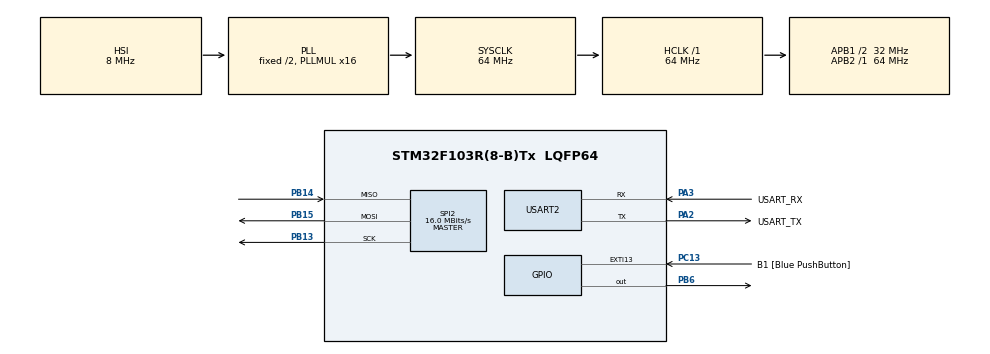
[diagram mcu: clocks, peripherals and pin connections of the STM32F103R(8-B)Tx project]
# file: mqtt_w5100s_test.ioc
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Mcu.Family=STM32F1
PC15-OSC32_OUT.Mode=LSE-External-Oscillator
PA2.GPIO_PuPd=GPIO_NOPULL
PD1-OSC_OUT.Mode=HSE-External-Clock-Source
SPI2.VirtualType=VM_MASTER
PA14.GPIO_Label=TCK
PA3.GPIO_PuPd=GPIO_NOPULL
PA2.GPIO_Speed=GPIO_SPEED_FREQ_LOW
PC13-TAMPER-RTC.Signal=GPXTI13
PD0-OSC_IN.Signal=RCC_OSC_IN
RCC.APB1CLKDivider=RCC_HCLK_DIV2
PC14-OSC32_IN.Signal=RCC_OSC32_IN
PA3.GPIO_Speed=GPIO_SPEED_FREQ_LOW
PB13.Signal=SPI2_SCK
PB15.Signal=SPI2_MOSI
NVIC.USART2_IRQn=true\:0\:0\:false\:false\:true\:true\:true
RCC.SYSCLKSource=RCC_SYSCLKSOURCE_PLLCLK
ProjectManager.StackSize=0x400
PD1-OSC_OUT.Signal=RCC_OSC_OUT
PA13.Signal=SYS_JTMS-SWDIO
PA3.Mode=Asynchronous
ProjectManager.TargetToolchain=STM32CubeIDE
PA3.GPIO_Mode=GPIO_MODE_AF_PP
RCC.HCLKFreq_Value=64000000
RCC.APB2TimFreq_Value=64000000
PB6.Signal=GPIO_Output
RCC.USBFreq_Value=64000000
PC15-OSC32_OUT.Signal=RCC_OSC32_OUT
RCC.AHBFreq_Value=64000000
PD0-OSC_IN.Mode=HSE-External-Clock-Source
NVIC.EXTI15_10_IRQn=true\:0\:0\:false\:false\:true\:true\:true
PB14.Signal=SPI2_MISO
board=NUCLEO-F103RB
RCC.RTCClockSelection=RCC_RTCCLKSOURCE_LSE
PC13-TAMPER-RTC.GPIO_Label=B1 [Blue PushButton]
RCC.PLLMUL=RCC_PLL_MUL16
PB15.Mode=Full_Duplex_Master
RCC.APB2Freq_Value=64000000
PC14-OSC32_IN.Mode=LSE-External-Oscillator
VP_TIM2_VS_ClockSourceINT.Mode=Internal
PA14.Mode=Serial_Wire
PB14.Mode=Full_Duplex_Master
NVIC.TIM2_IRQn=true\:0\:0\:false\:false\:true\:true\:true
SPI2.CalculateBaudRate=16.0 MBits/s
TIM2.Period=1000-1
PA13.Mode=Serial_Wire
Mcu.Name=STM32F103R(8-B)Tx
PA2.Signal=USART2_TX
PA13.GPIO_Label=TMS
PB3.Signal=SYS_JTDO-TRACESWO
RCC.SYSCLKFreq_VALUE=64000000
Mcu.Package=LQFP64
TIM2.Prescaler=64000-1
SPI2.Mode=SPI_MODE_MASTER
USART2.VirtualMode=VM_ASYNC
PC13-TAMPER-RTC.GPIO_PuPd=GPIO_NOPULL
PA2.GPIO_Label=USART_TX
PA14.Signal=SYS_JTCK-SWCLK
ProjectManager.HeapSize=0x200
NVIC.PriorityGroup=NVIC_PRIORITYGROUP_4
RCC.APB1TimFreq_Value=64000000
PA2.Mode=Asynchronous
SPI2.Direction=SPI_DIRECTION_2LINES
PB13.Mode=Full_Duplex_Master
RCC.APB1Freq_Value=32000000
PA3.GPIO_Label=USART_RX
PA3.Signal=USART2_RX
PA2.GPIO_Mode=GPIO_MODE_AF_PP
PB3.GPIO_Label=SWO

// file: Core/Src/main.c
/* USER CODE BEGIN Header */
/**
  ******************************************************************************
  * @file           : main.c
  * @brief          : Main program body
  ******************************************************************************
  * @attention
  *
  * <h2><center>&copy; Copyright (c) 2021 STMicroelectronics.
  * All rights reserved.</center></h2>
  *
  * This software component is licensed by ST under BSD 3-Clause license,
  * the "License"; You may not use this file except in compliance with the
  * License. You may obtain a copy of the License at:
  *                        opensource.org/licenses/BSD-3-Clause
  *
  ******************************************************************************
  */
/* USER CODE END Header */
#include "main.h"

/* USER CODE BEGIN Includes */
#include "wizchip_conf.h"
#include "MQTTClient.h"
//#include "dns.h"
/* USER CODE END Includes */

/* USER CODE BEGIN PD */
#define PUBLISH_MYSELF 1

uint8_t bLoopback = 1;
uint8_t bRandomPacket = 0;
uint8_t bAnyPacket = 0;
uint16_t pack_size = 0;

const uint8_t URL[] = "test.mosquitto.org";
uint8_t dns_server_ip[4] = {168,126,63,1};
uint8_t dnsclient_ip[4] = {0,};
unsigned int targetPort = 1883; // mqtt server port
unsigned char targetIP[4] = {0x00, 0x00, 0x00, 0x00}; // mqtt server IP

uint8_t IP_TYPE;
unsigned char destip[4] = {192, 168, 1, 3}; //PC IP addr

const uint8_t MQTT_TOPIC[]="W5x00";
unsigned char tempBuffer[1024*2] = {0, };

void print_network_information(void);
void delay(unsigned int count);
void MQTT_run(void);
void messageArrived(MessageData* md);

struct opts_struct
{
	char *clientid;
	int nodelimiter;
	char *delimiter;
	enum QoS qos;
	char *username;
	char *password;
	char *host;
	int port;
	int showtopics;
} opts =
{
		(char*)"stdout-subscriber",
		0,
		(char*)"\n",
		QOS0,
		"w5100s",
		"0123456789",
		(char *)"192.168.1.10",
		1883,
		0
};

/* USER CODE END PD */

SPI_HandleTypeDef hspi2;

TIM_HandleTypeDef htim2;

UART_HandleTypeDef huart2;

/* USER CODE BEGIN PV */
wiz_NetInfo defaultNetInfo = { .mac = {0x00,0x08,0xdc,0xff,0xee,0xdd},
							.ip = {192,168,1,130},
							.sn = {255,255,255,0},
							.gw = {192,168,1,1},
							.dns = {168, 126, 63, 1},
							//.dns = {8, 8, 8, 8},
							.dhcp = NETINFO_STATIC};
uint8_t ethBuf0[2048];
uint8_t ethBuf1[2048];
uint8_t ethBuf2[2048];
uint8_t ethBuf3[2048];

volatile unsigned long globalTimer = 0;
/* USER CODE END PV */

void SystemClock_Config(void);
static void MX_GPIO_Init(void);
static void MX_USART2_UART_Init(void);
static void MX_SPI2_Init(void);
static void MX_TIM2_Init(void);
/* USER CODE BEGIN PFP */
void print_network_information(void);
int _write(int fd, char *str, int len);
/* USER CODE END PFP */

/* USER CODE BEGIN 0 */
void TIM2_settimer(void)
{
	TIM_Cmd(TIM2,DISABLE);
	globalTimer = 0;
	TIM_Cmd(TIM2,ENABLE);
}

unsigned long TIM2_gettimer(void)
{
	return globalTimer;
}

void csEnable(void)
{
	HAL_GPIO_WritePin(GPIOB, GPIO_PIN_6, GPIO_PIN_RESET);
}

void csDisable(void)
{
	HAL_GPIO_WritePin(GPIOB, GPIO_PIN_6, GPIO_PIN_SET);
}

void spiWriteByte(uint8_t tx)
{
	uint8_t rx;
	HAL_SPI_TransmitReceive(&hspi2, &tx, &rx, 1, 10);
}

uint8_t spiReadByte(void)
{
	uint8_t rx = 0, tx = 0xFF;
	HAL_SPI_TransmitReceive(&hspi2, &tx, &rx, 1, 10);
	return rx;
}
void W5100s_Initialze(void)
{
	csDisable();
	reg_wizchip_cs_cbfunc(csEnable, csDisable);
	reg_wizchip_spi_cbfunc(spiReadByte,spiWriteByte);

#if _WIZCHIP_ == W5100
  HAL_Delay(3000);
#endif
#if _WIZCHIP_ == W5100S
  printf("version:%2x\r\n", getVER());
  printf("TMSR:%2x\r\n", getTMSR());
  //NETUNLOCK();
#endif
	uint8_t tmp;
	//w5500, w5200
#if _WIZCHIP_SOCK_NUM_ == 8
	uint8_t memsize[2][8] = { {2,2,2,2,2,2,2,2},{2,2,2,2,2,2,2,2}};
#else
	uint8_t memsize[2][4] = { {2,2,2,2},{2,2,2,2}};
#endif
	if(ctlwizchip(CW_INIT_WIZCHIP,(void*)memsize) == -1)
	{
		//myprintf("WIZCHIP Initialized fail.\r\n");
		printf("WIZCHIP Initialized fail.\r\n", 1, 10);
	  return;
	}
	/* PHY link status check */
	do {
		if(ctlwizchip(CW_GET_PHYLINK, (void*)&tmp) == -1)
		{
			printf("Unknown PHY Link status.\r\n", 1, 10);
		  return;
		}
	} while (tmp == PHY_LINK_OFF);
}

/* USER CODE END 0 */

int main(void)
{

  /* MCU Configuration--------------------------------------------------------*/

  /* Reset of all peripherals, Initializes the Flash interface and the Systick. */
  HAL_Init();

  /* Configure the system clock */
  SystemClock_Config();

  /* Initialize all configured peripherals */
  MX_GPIO_Init();
  MX_USART2_UART_Init();
  MX_SPI2_Init();
  MX_TIM2_Init();
  /* USER CODE BEGIN 2 */
	  printf("\t - W5100S Project - \r\n");
	  resetAssert();
	  HAL_Delay(1000);
	  resetDeassert();
	  HAL_Delay(1000);

  //WIZCHIPInitialize();
  W5100s_Initialze();
  printf("\t - WizChip Init - \r\n");

  wizchip_setnetinfo(&defaultNetInfo);
  print_network_information();

  DNS_init(0, ethBuf0);
  IP_TYPE = 0x1c;
  while (DNS_run(dns_server_ip, URL, dnsclient_ip) != 1);
//  NewNetwork(&g_network, mqtt_socket);
//  ConnectNetwork(&g_network, g_target_ip, MQTT_PORT);
  MQTT_run();

  /* USER CODE END 2 */

  /* Infinite loop */
  while (1)
  {

  }
}

void SystemClock_Config(void)
{
  RCC_OscInitTypeDef RCC_OscInitStruct = {0};
  RCC_ClkInitTypeDef RCC_ClkInitStruct = {0};

  /** Initializes the RCC Oscillators according to the specified parameters
  * in the RCC_OscInitTypeDef structure.
  */
  RCC_OscInitStruct.OscillatorType = RCC_OSCILLATORTYPE_HSI;
  RCC_OscInitStruct.HSIState = RCC_HSI_ON;
  RCC_OscInitStruct.HSICalibrationValue = RCC_HSICALIBRATION_DEFAULT;
  RCC_OscInitStruct.PLL.PLLState = RCC_PLL_ON;
  RCC_OscInitStruct.PLL.PLLSource = RCC_PLLSOURCE_HSI_DIV2;
  RCC_OscInitStruct.PLL.PLLMUL = RCC_PLL_MUL16;
  if (HAL_RCC_OscConfig(&RCC_OscInitStruct) != HAL_OK)
  {
    Error_Handler();
  }
  /** Initializes the CPU, AHB and APB buses clocks
  */
  RCC_ClkInitStruct.ClockType = RCC_CLOCKTYPE_HCLK|RCC_CLOCKTYPE_SYSCLK
                              |RCC_CLOCKTYPE_PCLK1|RCC_CLOCKTYPE_PCLK2;
  RCC_ClkInitStruct.SYSCLKSource = RCC_SYSCLKSOURCE_PLLCLK;
  RCC_ClkInitStruct.AHBCLKDivider = RCC_SYSCLK_DIV1;
  RCC_ClkInitStruct.APB1CLKDivider = RCC_HCLK_DIV2;
  RCC_ClkInitStruct.APB2CLKDivider = RCC_HCLK_DIV1;

  if (HAL_RCC_ClockConfig(&RCC_ClkInitStruct, FLASH_LATENCY_2) != HAL_OK)
  {
    Error_Handler();
  }
}

static void MX_SPI2_Init(void)
{

  /* SPI2 parameter configuration*/
  hspi2.Instance = SPI2;
  hspi2.Init.Mode = SPI_MODE_MASTER;
  hspi2.Init.Direction = SPI_DIRECTION_2LINES;
  hspi2.Init.DataSize = SPI_DATASIZE_8BIT;
  hspi2.Init.CLKPolarity = SPI_POLARITY_LOW;
  hspi2.Init.CLKPhase = SPI_PHASE_1EDGE;
  hspi2.Init.NSS = SPI_NSS_SOFT;
  hspi2.Init.BaudRatePrescaler = SPI_BAUDRATEPRESCALER_2;
  hspi2.Init.FirstBit = SPI_FIRSTBIT_MSB;
  hspi2.Init.TIMode = SPI_TIMODE_DISABLE;
  hspi2.Init.CRCCalculation = SPI_CRCCALCULATION_DISABLE;
  hspi2.Init.CRCPolynomial = 10;
  if (HAL_SPI_Init(&hspi2) != HAL_OK)
  {
    Error_Handler();
  }

}

static void MX_TIM2_Init(void)
{

  TIM_ClockConfigTypeDef sClockSourceConfig = {0};
  TIM_MasterConfigTypeDef sMasterConfig = {0};

  htim2.Instance = TIM2;
  htim2.Init.Prescaler = 64000-1;
  htim2.Init.CounterMode = TIM_COUNTERMODE_UP;
  htim2.Init.Period = 1000-1;
  htim2.Init.ClockDivision = TIM_CLOCKDIVISION_DIV1;
  htim2.Init.AutoReloadPreload = TIM_AUTORELOAD_PRELOAD_DISABLE;
  if (HAL_TIM_Base_Init(&htim2) != HAL_OK)
  {
    Error_Handler();
  }
  sClockSourceConfig.ClockSource = TIM_CLOCKSOURCE_INTERNAL;
  if (HAL_TIM_ConfigClockSource(&htim2, &sClockSourceConfig) != HAL_OK)
  {
    Error_Handler();
  }
  sMasterConfig.MasterOutputTrigger = TIM_TRGO_RESET;
  sMasterConfig.MasterSlaveMode = TIM_MASTERSLAVEMODE_DISABLE;
  if (HAL_TIMEx_MasterConfigSynchronization(&htim2, &sMasterConfig) != HAL_OK)
  {
    Error_Handler();
  }

}

static void MX_USART2_UART_Init(void)
{

  huart2.Instance = USART2;
  huart2.Init.BaudRate = 115200;
  huart2.Init.WordLength = UART_WORDLENGTH_8B;
  huart2.Init.StopBits = UART_STOPBITS_1;
  huart2.Init.Parity = UART_PARITY_NONE;
  huart2.Init.Mode = UART_MODE_TX_RX;
  huart2.Init.HwFlowCtl = UART_HWCONTROL_NONE;
  huart2.Init.OverSampling = UART_OVERSAMPLING_16;
  if (HAL_UART_Init(&huart2) != HAL_OK)
  {
    Error_Handler();
  }

}

static void MX_GPIO_Init(void)
{
  GPIO_InitTypeDef GPIO_InitStruct = {0};

  /* GPIO Ports Clock Enable */
  __HAL_RCC_GPIOC_CLK_ENABLE();
  __HAL_RCC_GPIOD_CLK_ENABLE();
  __HAL_RCC_GPIOA_CLK_ENABLE();
  __HAL_RCC_GPIOB_CLK_ENABLE();

  /*Configure GPIO pin Output Level */
  HAL_GPIO_WritePin(GPIOB, GPIO_PIN_6, GPIO_PIN_RESET);

  /*Configure GPIO pin : B1_Pin */
  GPIO_InitStruct.Pin = B1_Pin;
  GPIO_InitStruct.Mode = GPIO_MODE_IT_RISING;
  GPIO_InitStruct.Pull = GPIO_NOPULL;
  HAL_GPIO_Init(B1_GPIO_Port, &GPIO_InitStruct);

  /*Configure GPIO pin : PB6 */
  GPIO_InitStruct.Pin = GPIO_PIN_6;
  GPIO_InitStruct.Mode = GPIO_MODE_OUTPUT_PP;
  GPIO_InitStruct.Pull = GPIO_NOPULL;
  GPIO_InitStruct.Speed = GPIO_SPEED_FREQ_LOW;
  HAL_GPIO_Init(GPIOB, &GPIO_InitStruct);

  /* EXTI interrupt init*/
  HAL_NVIC_SetPriority(EXTI15_10_IRQn, 0, 0);
  HAL_NVIC_EnableIRQ(EXTI15_10_IRQn);

}

/* USER CODE BEGIN 4 */
void print_network_information(void)
{
	wizchip_getnetinfo(&defaultNetInfo);
	printf("Mac address: %02x:%02x:%02x:%02x:%02x:%02x\n\r",defaultNetInfo.mac[0],defaultNetInfo.mac[1],defaultNetInfo.mac[2],defaultNetInfo.mac[3],defaultNetInfo.mac[4],defaultNetInfo.mac[5]);
	printf("IP address : %d.%d.%d.%d\n\r",defaultNetInfo.ip[0],defaultNetInfo.ip[1],defaultNetInfo.ip[2],defaultNetInfo.ip[3]);
	printf("SM Mask	   : %d.%d.%d.%d\n\r",defaultNetInfo.sn[0],defaultNetInfo.sn[1],defaultNetInfo.sn[2],defaultNetInfo.sn[3]);
	printf("Gate way   : %d.%d.%d.%d\n\r",defaultNetInfo.gw[0],defaultNetInfo.gw[1],defaultNetInfo.gw[2],defaultNetInfo.gw[3]);
	printf("DNS Server : %d.%d.%d.%d\n\r",defaultNetInfo.dns[0],defaultNetInfo.dns[1],defaultNetInfo.dns[2],defaultNetInfo.dns[3]);
}

int _write(int fd, char *str, int len)
{
	for(int i=0; i<len; i++)
	{
		HAL_UART_Transmit(&huart2, (uint8_t *)&str[i], 1, 0xFFFF);
	}
	return len;
}
void MQTT_run(void){

	int rc = 0;
	unsigned char buf[2048] = {0,};
	unsigned char pubbuf[2048] = {0,};
	Network n;
	MQTTClient c;
	MQTTMessage m;
	uint32_t ck_timer;

	NewNetwork(&n, 2);
	printf("newNet Done\r\n");
	ConnectNetwork(&n, destip, 1883);
	printf("conNet Done\r\n");

	MQTTPacket_connectData data = MQTTPacket_connectData_initializer;
	data.willFlag = 0;
	data.MQTTVersion = 4;
	data.clientID.cstring = opts.clientid;
	data.username.cstring = opts.username;
	data.password.cstring = opts.password;

	data.keepAliveInterval = 60;
	data.cleansession = 1;

	MQTTClientInit(&c, &n, 1000, buf, 2048, pubbuf, sizeof(pubbuf));

	printf("[DEBUG] Subscribe : %s\r\n", MQTT_TOPIC);

	rc = MQTTConnect(&c, &data);
	printf("Connected %d\r\n", rc);
	opts.showtopics = 1;

	printf("Subscribing to %s\r\n", MQTT_TOPIC);
	rc = MQTTSubscribe(&c, MQTT_TOPIC, opts.qos, messageArrived);
	printf("Subscribed %d\r\n", rc);

#if PUBLISH_MYSELF == 1
	m.qos = QOS0;
	m.retained = 0;
	m.dup = 0;

	ck_timer = TIM2_gettimer();
#endif

	while(1)
	{
		MQTTYield(&c, data.keepAliveInterval);

#if PUBLISH_MYSELF == 1
		if(ck_timer + 10000 < TIM2_gettimer())
		{
			ck_timer = TIM2_gettimer();

			//printf("Publishing to %s\r\n", MQTT_TOPIC);

			sprintf(pubbuf, "Hello, W5x00!" );
			m.payload = pubbuf;
			m.payloadlen = strlen(pubbuf);

			rc = MQTTPublish(&c, MQTT_TOPIC, &m);
			printf("Published %d\r\n", rc);
		}
#endif
	}
}

void messageArrived(MessageData* md)
{
	unsigned char testbuffer[100];
	uint32_t rd_size;
	uint32_t rd_pt;
	uint32_t rdmore_size;

	MQTTMessage* message = md->message;
	MQTTString* topic = md->topicName;

	rdmore_size = (int)topic->lenstring.len;
	rd_pt = 0;

	while(rdmore_size != 0)
	{
		if(rdmore_size > sizeof(testbuffer) - 1)
		{
			rd_size = sizeof(testbuffer) - 1;
		}
		else
		{
			rd_size = rdmore_size;
		}

		memset(testbuffer, 0, rd_size + 1);

		memcpy(testbuffer, ((char*)topic->lenstring.data) + rd_pt, rd_size);
		printf("SubScribe Topic : %s\r\n", testbuffer);

		rd_pt += rd_size;
		rdmore_size -= rd_size;
	}

	if (opts.nodelimiter)
	{
		printf("Message : %.*s\r\n", (int)message->payloadlen, (char*)message->payload);
	}
	else
	{
		printf("Message : %.*s%s\r\n", (int)message->payloadlen, (char*)message->payload, opts.delimiter);
	}
}
/* USER CODE END 4 */

void Error_Handler(void)
{
  __disable_irq();
  while (1)
  {
  }
}

/************************ (C) COPYRIGHT STMicroelectronics *****END OF FILE****/
